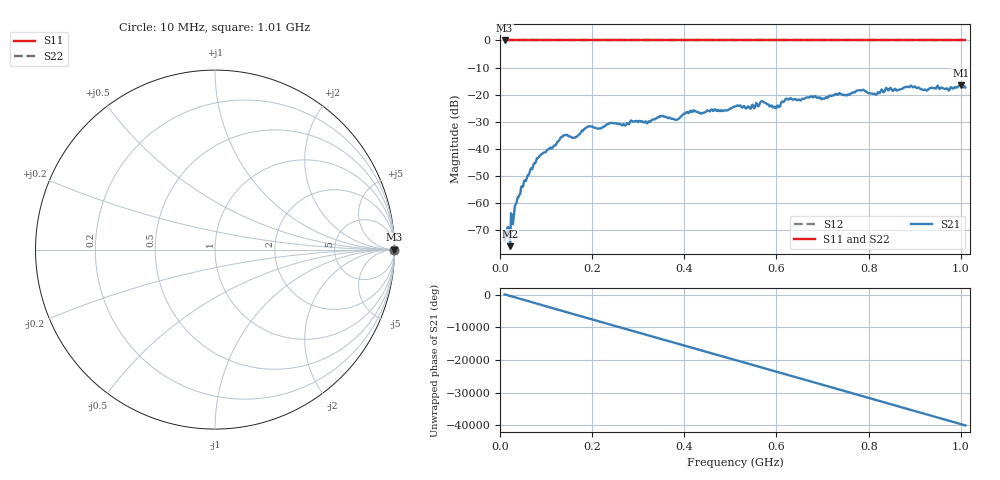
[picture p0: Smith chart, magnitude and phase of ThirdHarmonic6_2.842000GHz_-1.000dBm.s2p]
! 8/17/2025 7:38:35 AM
! C:\ANRITSUVNA\TEMP\TEMP.S2P
! CHANNEL.1
! TR.MEASUREMENT
! RAW.DATA
! RF.CORRECTION.OFF
! AVERAGING.OFF
! IF.BANDWIDTH: 5KHZ
! SWEEPTYPE:  FREQ.SWEEP(Linear)
! Reference Plane Port Info
! PORT:  PORT1  PORT2
! DISTANCE:  0  m  0  m
! TIME:  0  s  0  s
! PHASE.OFFSET:  0  deg.  0  deg.
! LOSS:  0  dB  0  dB
! REF.LOSS:  0  dB  0  dB
! REF.FREQ:  0  Hz  0  Hz
! Power Info
! POWER:  -20  dBm  -20  dBm
! EFF.POWER:  -20  dBm  -20  dBm
! SOURCE.ATTEN:  0  dB  0  dB
! TEST.ATTEN:  0  dB  0  dB
# GHZ S RI R 50.0
! FREQ.GHZ  S11RE  S11IM  S21RE  S21IM  S12RE  S12IM  S22RE  S22IM
!; PortSelection: Port_12
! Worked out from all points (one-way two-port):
!   501 points, 10 MHz to 1.01 GHz, reference 50 ohm
!   highest |S21| = -16.54 dB at 1 GHz (marker M1); lowest = -76.0 dB at 22 MHz (marker M2)
!   lowest |S11| = 0.0 dB at 10 MHz (marker M3)
!   |S11| at or under -10 dB: nowhere
!   |S22| runs from 0.0 to 0.0 dB; largest |S21 - S12| = 1.1
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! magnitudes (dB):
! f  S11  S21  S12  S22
! 10 MHz  0.0  -73.6  0.0  0.0
! 22 MHz  0.0  -76.0  0.0  0.0
! 26 MHz  0.0  -65.3  0.0  0.0
! 36 MHz  0.0  -59.9  0.0  0.0
! 50 MHz  0.0  -54.0  0.0  0.0
! 84 MHz  0.0  -43.1  0.0  0.0
! 136 MHz  0.0  -35.5  0.0  0.0
! 162 MHz  0.0  -35.9  0.0  0.0
! 178 MHz  0.0  -33.2  0.0  0.0
! 344 MHz  0.0  -28.4  0.0  0.0
! 384 MHz  0.0  -29.2  0.0  0.0
! 416 MHz  0.0  -26.4  0.0  0.0
! 510 MHz  0.0  -24.3  0.0  0.0
! 570 MHz  0.0  -22.5  0.0  0.0
! 596 MHz  0.0  -24.4  0.0  0.0
! 624 MHz  0.0  -21.8  0.0  0.0
! 678 MHz  0.0  -20.8  0.0  0.0
! 784 MHz  0.0  -18.5  0.0  0.0
! 814 MHz  0.0  -19.8  0.0  0.0
! 844 MHz  0.0  -18.2  0.0  0.0
! 1 GHz  0.0  -16.5  0.0  0.0
! 1.01 GHz  0.0  -17.4  0.0  0.0
